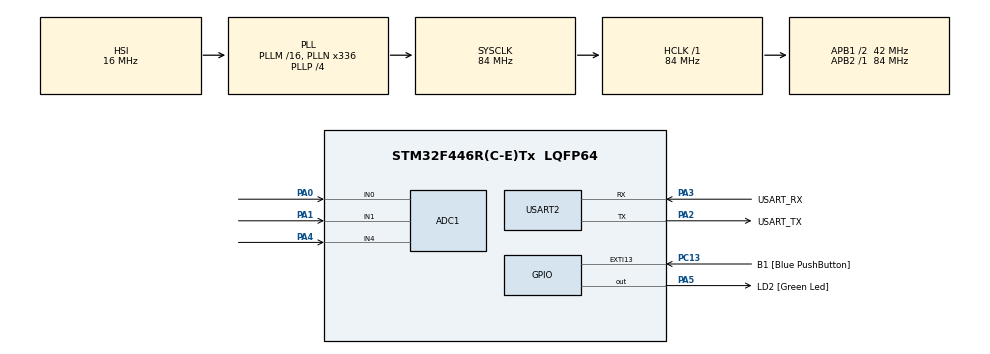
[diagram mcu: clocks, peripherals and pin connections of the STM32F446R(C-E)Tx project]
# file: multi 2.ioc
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ADC1.Channel-0\#ChannelRegularConversion=ADC_CHANNEL_0
ADC1.NbrOfConversionFlag=1
ADC1.Rank-0\#ChannelRegularConversion=1
ADC1.SamplingTime-0\#ChannelRegularConversion=ADC_SAMPLETIME_3CYCLES
ADC1.master=1
Mcu.Family=STM32F4
Mcu.Name=STM32F446R(C-E)Tx
Mcu.Package=LQFP64
NVIC.ADC_IRQn=true\:0\:0\:false\:false\:true\:true\:true\:true
NVIC.PriorityGroup=NVIC_PRIORITYGROUP_0
NVIC.TIM2_IRQn=true\:0\:0\:false\:false\:true\:true\:true\:true
PA0-WKUP.Signal=ADCx_IN0
PA1.Signal=ADCx_IN1
PA13.GPIO_Label=TMS
PA13.Mode=Serial_Wire
PA13.Signal=SYS_JTMS-SWDIO
PA14.GPIO_Label=TCK
PA14.Mode=Serial_Wire
PA14.Signal=SYS_JTCK-SWCLK
PA2.GPIO_Label=USART_TX
PA2.Mode=Asynchronous
PA2.Signal=USART2_TX
PA3.GPIO_Label=USART_RX
PA3.Mode=Asynchronous
PA3.Signal=USART2_RX
PA4.Signal=ADCx_IN4
PA5.GPIO_Label=LD2 [Green Led]
PA5.Signal=GPIO_Output
PB3.GPIO_Label=SWO
PB3.Signal=SYS_JTDO-SWO
PC13.GPIO_Label=B1 [Blue PushButton]
PC13.GPIO_ModeDefaultEXTI=GPIO_MODE_IT_FALLING
PC13.Signal=GPXTI13
PC14-OSC32_IN.Mode=LSE-External-Oscillator
PC14-OSC32_IN.Signal=RCC_OSC32_IN
PC15-OSC32_OUT.Mode=LSE-External-Oscillator
PC15-OSC32_OUT.Signal=RCC_OSC32_OUT
PH0-OSC_IN.Mode=HSE-External-Oscillator
PH0-OSC_IN.Signal=RCC_OSC_IN
PH1-OSC_OUT.Mode=HSE-External-Oscillator
PH1-OSC_OUT.Signal=RCC_OSC_OUT
ProjectManager.HeapSize=0x200
ProjectManager.StackSize=0x400
ProjectManager.TargetToolchain=STM32CubeIDE
RCC.48MHZClocksFreq_Value=84000000
RCC.AHBFreq_Value=84000000
RCC.APB1CLKDivider=RCC_HCLK_DIV2
RCC.APB1Freq_Value=42000000
RCC.APB1TimFreq_Value=84000000
RCC.APB2Freq_Value=84000000
RCC.APB2TimFreq_Value=84000000
RCC.CortexFreq_Value=84000000
RCC.FLatency-AdvancedSettings=FLASH_LATENCY_2
RCC.HCLKFreq_Value=84000000
RCC.HSE_VALUE=8000000
RCC.HSI_VALUE=16000000
RCC.PLLN=336
RCC.PLLP=RCC_PLLP_DIV4
RCC.SYSCLKFreq_VALUE=84000000
RCC.SYSCLKSource=RCC_SYSCLKSOURCE_PLLCLK
RCC.USBFreq_Value=168000000
RCC.VCOOutputFreq_Value=336000000
SH.ADCx_IN0.0=ADC1_IN0,IN0
SH.ADCx_IN1.0=ADC1_IN1,IN1
SH.ADCx_IN4.0=ADC1_IN4,IN4
TIM2.Period=20000-1
TIM2.Prescaler=8400-1
USART2.VirtualMode=VM_ASYNC
VP_TIM2_VS_ClockSourceINT.Mode=Internal
board=NUCLEO-F446RE

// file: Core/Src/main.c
/* USER CODE BEGIN Header */
/**
  ******************************************************************************
  * @file           : main.c
  * @brief          : Main program body
  ******************************************************************************
  * @attention
  *
  * Copyright (c) 2025 STMicroelectronics.
  * All rights reserved.
  *
  * This software is licensed under terms that can be found in the LICENSE file
  * in the root directory of this software component.
  * If no LICENSE file comes with this software, it is provided AS-IS.
  *
  ******************************************************************************
  */
/* USER CODE END Header */
#include "main.h"
#include<stdio.h>

ADC_HandleTypeDef hadc1;

TIM_HandleTypeDef htim2;

UART_HandleTypeDef huart2;

void SystemClock_Config(void);
static void MX_GPIO_Init(void);
static void MX_USART2_UART_Init(void);
static void MX_ADC1_Init(void);
static void MX_TIM2_Init(void);
/* USER CODE BEGIN PFP */
int var[3];
ADC_ChannelConfTypeDef Config = {0};
/* USER CODE END PFP */
char buffer[50];
/* USER CODE BEGIN 0 */
void HAL_TIM_PeriodElapsedCallback(TIM_HandleTypeDef *htim)
{
	  Config.Channel = ADC_CHANNEL_0; // POTENTIOMETER
	  HAL_ADC_ConfigChannel(&hadc1, &Config);
	  HAL_ADC_Start(&hadc1);
	  var[0]=HAL_ADC_GetValue(&hadc1);
	  HAL_ADC_Stop(&hadc1);

	  Config.Channel = ADC_CHANNEL_1; // SOIL SENSOR
	  HAL_ADC_ConfigChannel(&hadc1, &Config);
	  HAL_ADC_Start(&hadc1);
	  var[1]=HAL_ADC_GetValue(&hadc1);
	  HAL_ADC_Stop(&hadc1);

	  Config.Channel = ADC_CHANNEL_4;	//LDR
	  HAL_ADC_ConfigChannel(&hadc1, &Config);
	  HAL_ADC_Start(&hadc1);
	  var[2]=HAL_ADC_GetValue(&hadc1);
	  HAL_ADC_Stop(&hadc1);

	  sprintf(buffer, "ADC0 =%d 	ADC1=%d 	ADC4=%d	\n\r",var[0],var[1],var[2]);
	  HAL_UART_Transmit(&huart2, buffer, sizeof(buffer), 100);
}

/* USER CODE END 0 */

int main(void)
{

  /* MCU Configuration--------------------------------------------------------*/

  /* Reset of all peripherals, Initializes the Flash interface and the Systick. */
  HAL_Init();

  /* Configure the system clock */
  SystemClock_Config();

  /* Initialize all configured peripherals */
  MX_GPIO_Init();
  MX_USART2_UART_Init();
  MX_ADC1_Init();
  MX_TIM2_Init();
  /* USER CODE BEGIN 2 */
  HAL_TIM_Base_Start_IT(&htim2);
  Config.Rank = 1;
  Config.SamplingTime = ADC_SAMPLETIME_3CYCLES;
  /* USER CODE END 2 */

  /* Infinite loop */
  while (1)
  {

  }
}

void SystemClock_Config(void)
{
  RCC_OscInitTypeDef RCC_OscInitStruct = {0};
  RCC_ClkInitTypeDef RCC_ClkInitStruct = {0};

  /** Configure the main internal regulator output voltage
  */
  __HAL_RCC_PWR_CLK_ENABLE();
  __HAL_PWR_VOLTAGESCALING_CONFIG(PWR_REGULATOR_VOLTAGE_SCALE3);

  /** Initializes the RCC Oscillators according to the specified parameters
  * in the RCC_OscInitTypeDef structure.
  */
  RCC_OscInitStruct.OscillatorType = RCC_OSCILLATORTYPE_HSI;
  RCC_OscInitStruct.HSIState = RCC_HSI_ON;
  RCC_OscInitStruct.HSICalibrationValue = RCC_HSICALIBRATION_DEFAULT;
  RCC_OscInitStruct.PLL.PLLState = RCC_PLL_ON;
  RCC_OscInitStruct.PLL.PLLSource = RCC_PLLSOURCE_HSI;
  RCC_OscInitStruct.PLL.PLLM = 16;
  RCC_OscInitStruct.PLL.PLLN = 336;
  RCC_OscInitStruct.PLL.PLLP = RCC_PLLP_DIV4;
  RCC_OscInitStruct.PLL.PLLQ = 2;
  RCC_OscInitStruct.PLL.PLLR = 2;
  if (HAL_RCC_OscConfig(&RCC_OscInitStruct) != HAL_OK)
  {
    Error_Handler();
  }

  /** Initializes the CPU, AHB and APB buses clocks
  */
  RCC_ClkInitStruct.ClockType = RCC_CLOCKTYPE_HCLK|RCC_CLOCKTYPE_SYSCLK
                              |RCC_CLOCKTYPE_PCLK1|RCC_CLOCKTYPE_PCLK2;
  RCC_ClkInitStruct.SYSCLKSource = RCC_SYSCLKSOURCE_PLLCLK;
  RCC_ClkInitStruct.AHBCLKDivider = RCC_SYSCLK_DIV1;
  RCC_ClkInitStruct.APB1CLKDivider = RCC_HCLK_DIV2;
  RCC_ClkInitStruct.APB2CLKDivider = RCC_HCLK_DIV1;

  if (HAL_RCC_ClockConfig(&RCC_ClkInitStruct, FLASH_LATENCY_2) != HAL_OK)
  {
    Error_Handler();
  }
}

static void MX_ADC1_Init(void)
{

  ADC_ChannelConfTypeDef sConfig = {0};

  /** Configure the global features of the ADC (Clock, Resolution, Data Alignment and number of conversion)
  */
  hadc1.Instance = ADC1;
  hadc1.Init.ClockPrescaler = ADC_CLOCK_SYNC_PCLK_DIV4;
  hadc1.Init.Resolution = ADC_RESOLUTION_12B;
  hadc1.Init.ScanConvMode = DISABLE;
  hadc1.Init.ContinuousConvMode = DISABLE;
  hadc1.Init.DiscontinuousConvMode = DISABLE;
  hadc1.Init.ExternalTrigConvEdge = ADC_EXTERNALTRIGCONVEDGE_NONE;
  hadc1.Init.ExternalTrigConv = ADC_SOFTWARE_START;
  hadc1.Init.DataAlign = ADC_DATAALIGN_RIGHT;
  hadc1.Init.NbrOfConversion = 1;
  hadc1.Init.DMAContinuousRequests = DISABLE;
  hadc1.Init.EOCSelection = ADC_EOC_SINGLE_CONV;
  if (HAL_ADC_Init(&hadc1) != HAL_OK)
  {
    Error_Handler();
  }

  /** Configure for the selected ADC regular channel its corresponding rank in the sequencer and its sample time.
  */
  sConfig.Channel = ADC_CHANNEL_0;
  sConfig.Rank = 1;
  sConfig.SamplingTime = ADC_SAMPLETIME_3CYCLES;
  if (HAL_ADC_ConfigChannel(&hadc1, &sConfig) != HAL_OK)
  {
    Error_Handler();
  }

}

static void MX_TIM2_Init(void)
{

  TIM_ClockConfigTypeDef sClockSourceConfig = {0};
  TIM_MasterConfigTypeDef sMasterConfig = {0};

  htim2.Instance = TIM2;
  htim2.Init.Prescaler = 8400-1;
  htim2.Init.CounterMode = TIM_COUNTERMODE_UP;
  htim2.Init.Period = 20000-1;
  htim2.Init.ClockDivision = TIM_CLOCKDIVISION_DIV1;
  htim2.Init.AutoReloadPreload = TIM_AUTORELOAD_PRELOAD_DISABLE;
  if (HAL_TIM_Base_Init(&htim2) != HAL_OK)
  {
    Error_Handler();
  }
  sClockSourceConfig.ClockSource = TIM_CLOCKSOURCE_INTERNAL;
  if (HAL_TIM_ConfigClockSource(&htim2, &sClockSourceConfig) != HAL_OK)
  {
    Error_Handler();
  }
  sMasterConfig.MasterOutputTrigger = TIM_TRGO_RESET;
  sMasterConfig.MasterSlaveMode = TIM_MASTERSLAVEMODE_DISABLE;
  if (HAL_TIMEx_MasterConfigSynchronization(&htim2, &sMasterConfig) != HAL_OK)
  {
    Error_Handler();
  }

}

static void MX_USART2_UART_Init(void)
{

  huart2.Instance = USART2;
  huart2.Init.BaudRate = 115200;
  huart2.Init.WordLength = UART_WORDLENGTH_8B;
  huart2.Init.StopBits = UART_STOPBITS_1;
  huart2.Init.Parity = UART_PARITY_NONE;
  huart2.Init.Mode = UART_MODE_TX_RX;
  huart2.Init.HwFlowCtl = UART_HWCONTROL_NONE;
  huart2.Init.OverSampling = UART_OVERSAMPLING_16;
  if (HAL_UART_Init(&huart2) != HAL_OK)
  {
    Error_Handler();
  }

}

static void MX_GPIO_Init(void)
{
  GPIO_InitTypeDef GPIO_InitStruct = {0};

  /* GPIO Ports Clock Enable */
  __HAL_RCC_GPIOC_CLK_ENABLE();
  __HAL_RCC_GPIOH_CLK_ENABLE();
  __HAL_RCC_GPIOA_CLK_ENABLE();
  __HAL_RCC_GPIOB_CLK_ENABLE();

  /*Configure GPIO pin Output Level */
  HAL_GPIO_WritePin(LD2_GPIO_Port, LD2_Pin, GPIO_PIN_RESET);

  /*Configure GPIO pin : B1_Pin */
  GPIO_InitStruct.Pin = B1_Pin;
  GPIO_InitStruct.Mode = GPIO_MODE_IT_FALLING;
  GPIO_InitStruct.Pull = GPIO_NOPULL;
  HAL_GPIO_Init(B1_GPIO_Port, &GPIO_InitStruct);

  /*Configure GPIO pin : LD2_Pin */
  GPIO_InitStruct.Pin = LD2_Pin;
  GPIO_InitStruct.Mode = GPIO_MODE_OUTPUT_PP;
  GPIO_InitStruct.Pull = GPIO_NOPULL;
  GPIO_InitStruct.Speed = GPIO_SPEED_FREQ_LOW;
  HAL_GPIO_Init(LD2_GPIO_Port, &GPIO_InitStruct);

}

void Error_Handler(void)
{
  __disable_irq();
  while (1)
  {
  }
}
